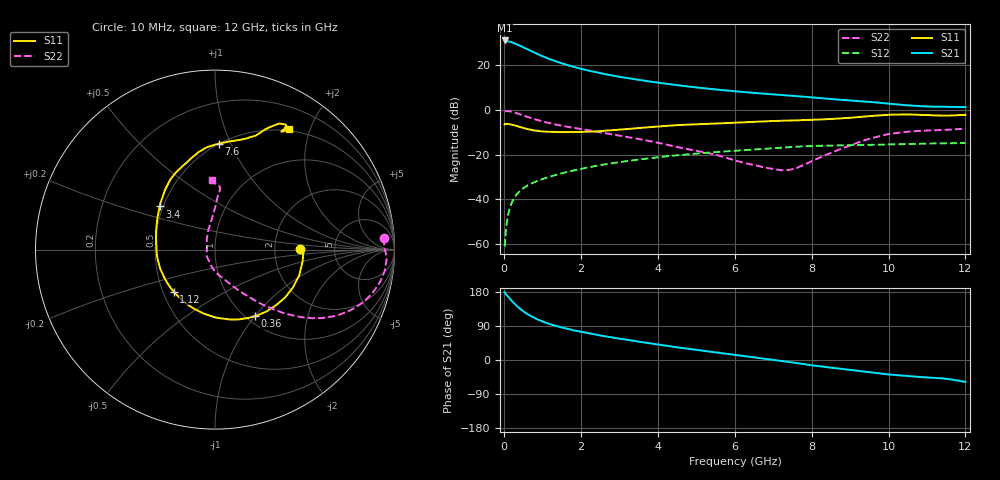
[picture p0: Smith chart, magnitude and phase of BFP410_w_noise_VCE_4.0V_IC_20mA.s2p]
! Infineon Technologies  Discrete & RF Semiconductors
! BFP410
! VCE =  4.0 V,  IC =  20 mA
! Common Emitter S-Parameters:  Nov 2015
# GHz  S  MA  R  50
!  f  S11  S21  S12  S22
! GHz  MAG  ANG  MAG  ANG  MAG  ANG  MAG  ANG
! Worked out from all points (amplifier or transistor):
!   243 points, 10 MHz to 12 GHz, reference 50 ohm
!   highest |S21| = 31.2 dB at 10 MHz (marker M1)
!   |S21| within 3 dB of that: start of sweep to 486.7 MHz
!   unconditionally stable (mu >= 1): start of sweep to 25.97 MHz; 1.897 GHz to end of sweep
!   at 240 MHz: K = 0.31, MSG = 35.0 dB, |S12| = -40.0 dB
!   at 1.84 GHz: K = 0.99, MSG = 23.1 dB, |S12| = -26.9 dB
!   at 12 GHz: K = 1.02, MAG = 7.1 dB, |S12| = -14.7 dB
!   lowest NFmin = 1.70 dB at 900 MHz
!   S11 on the Smith chart (normalised r, x): 10 MHz: 2.82, +0.04; 360 MHz: 1.10, -1.00; 1.12 GHz: 0.57, -0.30; 3.4 GHz: 0.48, +0.27; 7.6 GHz: 0.50, +0.90; 12 GHz: 0.48, +1.68
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0.01  0.4763 0.6  36.34 178.7  0.0009 98.0  0.9411 3.9
0.02  0.4924 -1.7  35.85 176.3  0.001 74.7  0.9459 0.2
0.055  0.4917 -8.5  35.17 172.2  0.0026 77.1  0.9577 -3.0
0.1  0.4908 -17.2  34.77 167.1  0.0045 78.3  0.9534 -7.0
0.19  0.4745 -32.4  33.12 156.7  0.0082 75.2  0.9222 -13.5
0.28  0.4525 -46.9  31 147.1  0.0115 71.8  0.8782 -19.1
0.36  0.433 -58.8  29 139.6  0.0141 69.0  0.8345 -23.4
0.5  0.399 -77.6  25.4 128.0  0.018 65.6  0.7575 -29.4
0.6  0.3793 -89.2  23.02 121.1  0.0204 63.7  0.7078 -32.6
0.7  0.3623 -99.9  20.93 115.3  0.0226 62.5  0.663 -35.2
0.9  0.3412 -118.1  17.46 105.5  0.0268 60.9  0.5893 -39.2
1.12  0.3282 -134.5  14.57 97.1  0.0311 59.9  0.5259 -42.5
1.46  0.3218 -154.2  11.44 86.8  0.0377 58.8  0.454 -46.2
2.02  0.3257 -178.1  8.341 74.0  0.049 56.3  0.3755 -50.9
2.6  0.3447 162.2  6.452 62.9  0.0607 52.5  0.3078 -55.7
3.4  0.3907 142.0  4.903 50.1  0.0764 46.7  0.2344 -63.1
4.1  0.4377 128.7  4.017 39.4  0.0901 41.1  0.1783 -71.6
6.1  0.5288 103.9  2.602 12.3  0.1248 24.1  0.0711 -118.3
7.6  0.5906 87.9  2.065 -8.0  0.1518 10.0  0.0502 152.1
8.2  0.6164 79.8  1.87 -16.3  0.1589 3.2  0.0859 120.2
10.2  0.7938 61.8  1.349 -39.8  0.1713 -13.2  0.3068 86.5
12  0.7864 58.5  1.171 -57.9  0.1843 -29.1  0.3855 92.4
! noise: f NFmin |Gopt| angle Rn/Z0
0.45  1.73  0.14  -155  0.16
0.9  1.7  0.14  -156  0.16
1.8  1.84  0.19  -141  0.17
2.4  1.84  0.24  -124  0.23
5.5  2.72  0.43  -103  0.42
10  3.83  0.7  -46  2.5
